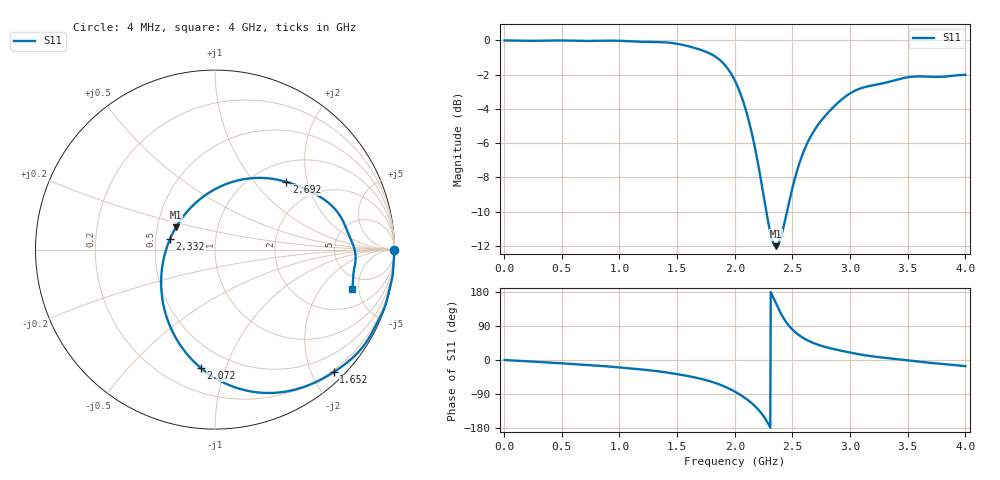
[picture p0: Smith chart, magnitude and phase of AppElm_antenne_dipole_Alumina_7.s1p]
! TOUCHSTONE file generated by CST MICROWAVE STUDIO
! Date and time: Sat May 14 11:42:16 2022
! Project name: AppElm_antenne_dipole_Alumina.cst
! Parameters = {L=34.65; e=0.035; f=2.45e+09; h=1.6; i=0.8; l1=2; lambda=122.449; ls=30; wl=1.7; ws=80}
! Header version: 2018
! Port assignment regex: !\s*Touchstone port\s*([0-9]+)\s*=\s*(CST MWS port|CST DS port)\s*([0-9]+|Zmin|Zmax)\s*\(\"(.*)\"\)(\s*mode\s*([0-9]+))?.*
! Touchstone port assignment:
! Touchstone port 1 = CST MWS port 1 ("")
# GHz S MA R 50
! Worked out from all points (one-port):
!   1000 points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, 4 MHz to 4 GHz, reference 50 ohm
!   lowest |S11| = -12.0 dB at 2.356 GHz (marker M1), VSWR 1.67, Z = 31.3 + j8.22 ohm
!   |S11| at or under -10 dB: 2.274 GHz to 2.453 GHz (179.3 MHz wide, 7.59 % of centre)
!   S11 on the Smith chart (normalised r, x): 4 MHz: open; 1.652 GHz: 0.17, -2.35; 2.072 GHz: 0.35, -0.83; 2.332 GHz: 0.60, +0.08; 2.692 GHz: 1.38, +1.49; 4 GHz: 3.51, -4.19
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0.004  1 -0.1
0.504  0.9999 -8.9
1.004  0.9977 -19.7
1.316  0.9895 -29.1
1.504  0.9773 -37.5
1.652  0.9507 -45.9
1.748  0.9272 -52.8
1.832  0.8969 -60.6
1.924  0.84 -71.8
2.004  0.7594 -84.0
2.072  0.6649 -96.7
2.144  0.5429 -113.3
2.208  0.4254 -132.2
2.268  0.3243 -156.6
2.304  0.2788 -176.0
2.332  0.2572 166.5
2.356  0.2506 150.5
2.388  0.2588 129.9
2.432  0.294 106.1
2.504  0.3753 79.1
2.584  0.4613 60.0
2.692  0.5477 43.6
2.832  0.6271 30.7
3.004  0.7018 19.4
3.156  0.7347 11.2
3.504  0.7811 -1.2
3.652  0.7843 -6.3
4  0.7932 -16.2
